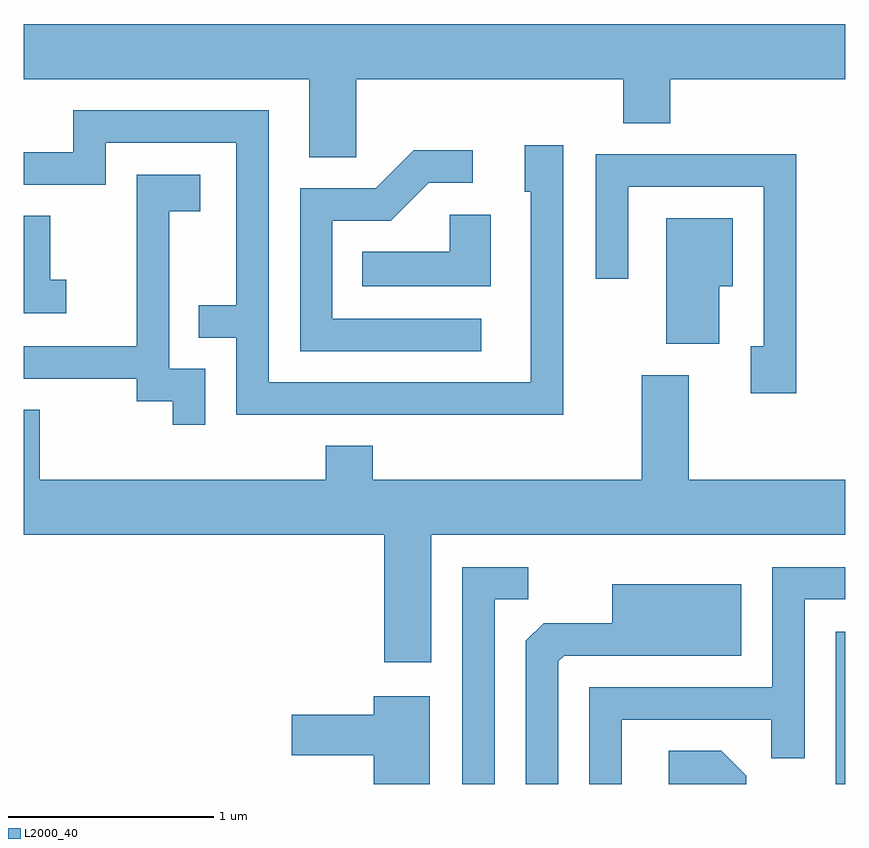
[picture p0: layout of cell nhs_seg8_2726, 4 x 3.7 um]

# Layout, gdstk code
import gdstk
lib = gdstk.Library(unit=1e-6, precision=1e-09)
def R(c, l, rs):  # rectangles x0, y0, x1, y1
    for r in rs: c.add(gdstk.rectangle(r[:2], r[2:], *l))
def P(c, l, *ps):  # polygons
    for p in ps: c.add(gdstk.Polygon(p, *l))
L2000_40 = (2000, 40)

nhs_seg8_2726 = lib.new_cell('nhs_seg8_2726')
R(nhs_seg8_2726, L2000_40, [(271.566,1806.342,271.611,1807.084)])
P(nhs_seg8_2726, L2000_40, [(269.229,1809.776),(270.531,1809.776),(270.531,1809.561),(270.759,1809.561),(270.759,1809.776),(271.611,1809.776),(271.611,1810.044),(267.611,1810.044),(267.611,1809.776),(269.001,1809.776),(269.001,1809.396),(269.229,1809.396)],
  [(270.239,1809.454),(270.051,1809.454),(270.051,1809.226),(270.081,1809.226),(270.081,1808.299),(268.804,1808.299),(268.804,1809.624),(267.851,1809.624),(267.851,1809.419),(267.611,1809.419),(267.611,1809.261),(268.009,1809.261),(268.009,1809.466),(268.646,1809.466),(268.646,1808.674),(268.463,1808.674),(268.463,1808.516),(268.646,1808.516),(268.646,1808.141),(270.239,1808.141)],
  [(269.838,1808.609),(269.114,1808.609),(269.114,1809.086),(269.397,1809.086),(269.582,1809.271),(269.798,1809.271),(269.798,1809.429),(269.509,1809.429),(269.324,1809.244),(268.956,1809.244),(268.956,1808.451),(269.838,1808.451)],
  [(271.374,1809.409),(270.396,1809.409),(270.396,1808.803),(270.554,1808.803),(270.554,1809.251),(271.216,1809.251),(271.216,1808.474),(271.151,1808.474),(271.151,1808.246),(271.374,1808.246)],
  [(268.494,1808.364),(268.319,1808.364),(268.319,1809.131),(268.469,1809.131),(268.469,1809.309),(268.161,1809.309),(268.161,1808.474),(267.611,1808.474),(267.611,1808.316),(268.161,1808.316),(268.161,1808.206),(268.336,1808.206),(268.336,1808.093),(268.494,1808.093)],
  [(269.884,1809.114),(269.686,1809.114),(269.686,1808.934),(269.258,1808.934),(269.258,1808.766),(269.884,1808.766)],
  [(267.818,1808.799),(267.739,1808.799),(267.739,1809.109),(267.611,1809.109),(267.611,1808.636),(267.818,1808.636)],
  [(270.999,1808.766),(271.064,1808.766),(271.064,1809.099),(270.741,1809.099),(270.741,1808.486),(270.999,1808.486)],
  [(269.594,1807.556),(271.611,1807.556),(271.611,1807.824),(270.849,1807.824),(270.849,1808.334),(270.621,1808.334),(270.621,1807.824),(269.309,1807.824),(269.309,1807.989),(269.081,1807.989),(269.081,1807.824),(267.689,1807.824),(267.689,1808.164),(267.611,1808.164),(267.611,1807.556),(269.366,1807.556),(269.366,1806.936),(269.594,1806.936)],
  [(269.904,1807.241),(270.068,1807.241),(270.068,1807.399),(269.746,1807.399),(269.746,1806.342),(269.904,1806.342)],
  [(270.524,1806.656),(271.251,1806.656),(271.251,1806.468),(271.414,1806.468),(271.414,1807.241),(271.611,1807.241),(271.611,1807.399),(271.256,1807.399),(271.256,1806.814),(270.366,1806.814),(270.366,1806.342),(270.524,1806.342)],
  [(270.214,1806.939),(270.242,1806.966),(271.104,1806.966),(271.104,1807.314),(270.476,1807.314),(270.476,1807.124),(270.142,1807.124),(270.056,1807.039),(270.056,1806.342),(270.214,1806.342)],
  [(269.589,1806.769),(269.316,1806.769),(269.316,1806.679),(268.916,1806.679),(268.916,1806.481),(269.316,1806.481),(269.316,1806.342),(269.589,1806.342)],
  [(271.129,1806.382),(271.007,1806.504),(270.751,1806.504),(270.751,1806.342),(271.129,1806.342)])

lib.write_gds('nhs_seg8_2726.gds')
